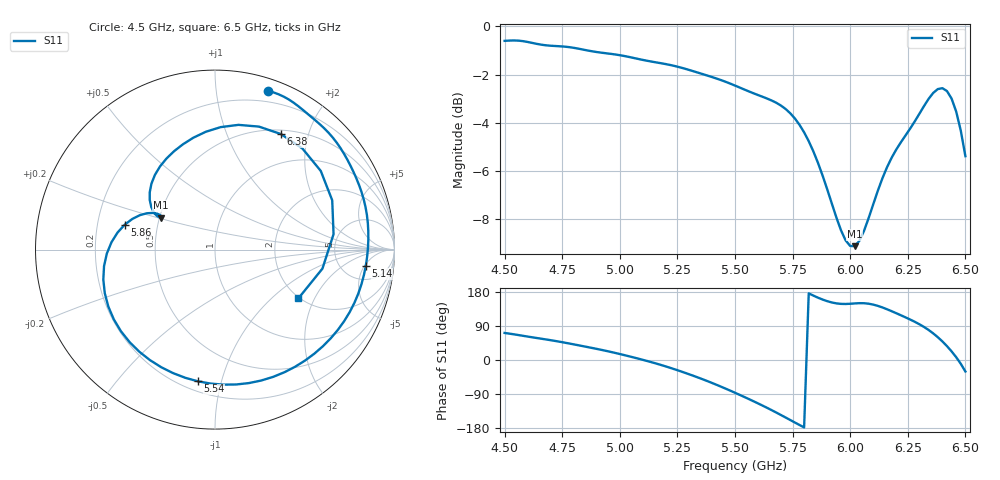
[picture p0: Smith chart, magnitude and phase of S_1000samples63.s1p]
! TOUCHSTONE file generated by CST MICROWAVE STUDIO
! Date and time: Wed Oct 26 20:54:51 2022
! Project name: L.cst
! Parameters = {Di=1.27; Epsilon_r=1.56; InnerDiameter=1.27; Length=2; Lf=10; Lg=60; OuterConductorThickness=0.2921; OuterDiameter=3.6; Wf=3; Wp=41.2; de=1.5; df=6.8; g=0.8; gx=2.55094; gy=1.32288; h=2.34; hf=1.524; px=8.96988; py=12.2591; w=9.7; wx=6.41895; wy=10.9362}
! Header version: 2018
! Port assignment regex: !\s*Touchstone port\s*([0-9]+)\s*=\s*(CST MWS port|CST DS port)\s*([0-9]+|Zmin|Zmax)\s*\(\"(.*)\"\)(\s*mode\s*([0-9]+))?.*
! Touchstone port assignment:
! Touchstone port 1 = CST MWS port 1 ("")
# GHz S DB R 50
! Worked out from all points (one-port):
!   101 points, 4.5 GHz to 6.5 GHz, reference 50 ohm
!   lowest |S11| = -9.1 dB at 6.02 GHz (marker M1), VSWR 2.08, Z = 25.4 + j10.4 ohm
!   |S11| at or under -10 dB: nowhere
!   S11 on the Smith chart (normalised r, x): 4.5 GHz: 0.10, +1.39; 5.14 GHz: 8.42, -5.39; 5.54 GHz: 0.26, -0.84; 5.86 GHz: 0.32, +0.12; 6.38 GHz: 0.55, +1.58; 6.5 GHz: 1.97, -1.51
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4.5  -0.60 71.4
4.76  -0.84 45.9
5  -1.19 15.8
5.14  -1.46 -6.2
5.26  -1.70 -29.0
5.32  -1.86 -41.8
5.4  -2.10 -60.5
5.5  -2.45 -86.4
5.54  -2.62 -97.4
5.64  -3.00 -126.5
5.7  -3.29 -145.4
5.76  -3.82 -165.0
5.8  -4.39 -177.9
5.86  -5.66 164.5
5.92  -7.34 151.9
6  -9.11 148.4
6.02  -9.11 149.3
6.08  -7.95 148.6
6.16  -5.84 133.9
6.26  -4.24 106.9
6.3  -3.63 94.5
6.34  -3.01 79.4
6.38  -2.60 60.3
6.4  -2.56 49.1
6.44  -2.99 22.8
6.46  -3.53 7.4
6.48  -4.32 -10.1
6.5  -5.38 -30.4
